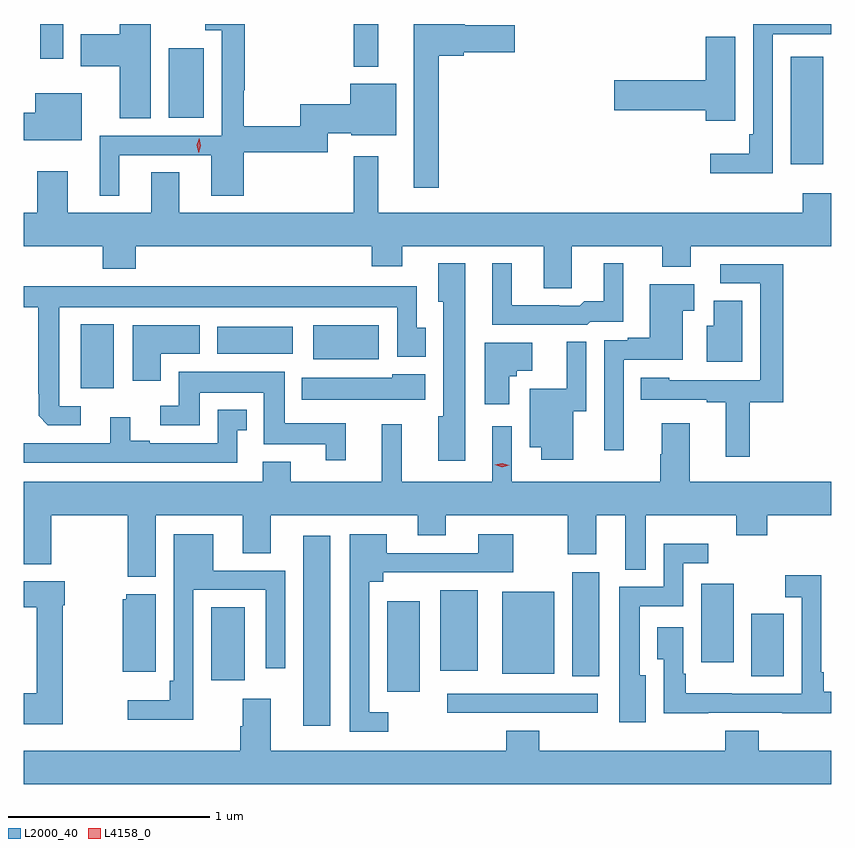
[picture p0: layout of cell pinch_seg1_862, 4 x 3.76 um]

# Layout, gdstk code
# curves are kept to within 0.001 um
import gdstk
lib = gdstk.Library(unit=1e-6, precision=1e-09)
def R(c, l, rs):  # rectangles x0, y0, x1, y1
    for r in rs: c.add(gdstk.rectangle(r[:2], r[2:], *l))
def P(c, l, *ps):  # polygons
    for p in ps: c.add(gdstk.Polygon(p, *l))
L2000_40 = (2000, 40)
L4158_0 = (4158, 0)

pinch_seg1_862 = lib.new_cell('pinch_seg1_862')
R(pinch_seg1_862, L2000_40, [(502.568,518.721,502.702,519.661), (503.283,518.784,504.028,518.88), (502.985,518.889,503.146,519.337), (502.112,518.946,502.279,519.308), (503.9,518.965,504.034,519.481), (504.788,518.965,504.949,519.276), (503.555,518.978,503.812,519.385), (503.246,518.993,503.434,519.391), (504.539,519.035,504.7,519.424), (501.467,520.392,501.631,520.708), (502.619,520.535,502.942,520.705), (502.142,520.562,502.516,520.696), (504.983,521.502,505.144,522.034), (501.902,521.732,502.075,522.076), (502.818,521.984,502.939,522.196), (501.265,522.024,501.381,522.196)])
P(pinch_seg1_862, L2000_40, [(501.658,521.547),(502.112,521.547),(502.112,521.346),(502.274,521.346),(502.274,521.562),(502.69,521.562),(502.69,521.656),(502.806,521.656),(502.806,521.645),(503.029,521.645),(503.029,521.899),(502.802,521.899),(502.802,521.798),(502.555,521.798),(502.555,521.69),(502.273,521.69),(502.273,521.867),(502.28,521.867),(502.28,522.196),(502.083,522.196),(502.083,522.165),(502.164,522.165),(502.164,521.643),(501.56,521.643),(501.56,521.346),(501.658,521.346)],
  [(503.239,522.038),(503.364,522.038),(503.364,522.056),(503.617,522.056),(503.617,522.19),(503.368,522.19),(503.368,522.196),(503.117,522.196),(503.117,521.385),(503.239,521.385)],
  [(504.894,522.144),(505.184,522.144),(505.184,522.196),(504.798,522.196),(504.798,521.65),(504.778,521.65),(504.778,521.554),(504.585,521.554),(504.585,521.456),(504.894,521.456)],
  [(501.814,522.196),(501.659,522.196),(501.659,522.145),(501.466,522.145),(501.466,521.987),(501.659,521.987),(501.659,521.728),(501.814,521.728)],
  [(504.709,522.132),(504.563,522.132),(504.563,521.918),(504.108,521.918),(504.108,521.77),(504.563,521.77),(504.563,521.718),(504.709,521.718)],
  [(501.472,521.854),(501.242,521.854),(501.242,521.756),(501.184,521.756),(501.184,521.621),(501.472,521.621)],
  [(502.939,521.542),(502.818,521.542),(502.818,521.26),(501.955,521.26),(501.955,521.462),(501.815,521.462),(501.815,521.26),(501.403,521.26),(501.403,521.467),(501.251,521.467),(501.251,521.26),(501.184,521.26),(501.184,521.096),(501.575,521.096),(501.575,520.985),(501.74,520.985),(501.74,521.096),(502.907,521.096),(502.907,520.997),(503.059,520.997),(503.059,521.096),(503.759,521.096),(503.759,520.888),(503.899,520.888),(503.899,521.096),(504.347,521.096),(504.347,520.994),(504.487,520.994),(504.487,521.096),(505.184,521.096),(505.184,521.359),(505.043,521.359),(505.043,521.26),(502.939,521.26)],
  [(503.991,520.722),(504.154,520.722),(504.154,521.011),(504.056,521.011),(504.056,520.823),(503.96,520.823),(503.937,520.8),(503.837,520.8),(503.837,520.803),(503.602,520.803),(503.602,521.011),(503.504,521.011),(503.504,520.707),(503.976,520.707)],
  [(503.371,521.011),(503.237,521.011),(503.237,520.821),(503.261,520.821),(503.261,520.254),(503.237,520.254),(503.237,520.032),(503.371,520.032)],
  [(504.779,520.323),(504.947,520.323),(504.947,521.007),(504.633,521.007),(504.633,520.911),(504.831,520.911),(504.831,520.431),(504.381,520.431),(504.381,520.444),(504.241,520.444),(504.241,520.335),(504.566,520.335),(504.566,520.323),(504.662,520.323),(504.662,520.053),(504.779,520.053)],
  [(504.156,520.533),(504.448,520.533),(504.448,520.777),(504.505,520.777),(504.505,520.906),(504.284,520.906),(504.284,520.642),(504.176,520.642),(504.176,520.629),(504.06,520.629),(504.06,520.086),(504.156,520.086)],
  [(501.466,520.302),(501.361,520.302),(501.361,520.793),(503.034,520.793),(503.034,520.548),(503.176,520.548),(503.176,520.692),(503.131,520.692),(503.131,520.897),(501.184,520.897),(501.184,520.793),(501.257,520.793),(501.258,520.255),(501.304,520.209),(501.466,520.209)],
  [(504.742,520.826),(504.602,520.826),(504.602,520.702),(504.566,520.702),(504.566,520.523),(504.742,520.523)],
  [(501.862,520.562),(502.057,520.562),(502.057,520.705),(501.725,520.705),(501.725,520.428),(501.862,520.428)],
  [(503.905,520.277),(503.97,520.277),(503.97,520.622),(503.873,520.622),(503.873,520.39),(503.69,520.39),(503.69,520.1),(503.747,520.1),(503.747,520.038),(503.905,520.038)],
  [(503.59,520.451),(503.625,520.451),(503.625,520.478),(503.704,520.478),(503.704,520.618),(503.468,520.618),(503.468,520.314),(503.59,520.314)],
  [(502.778,520.219),(502.477,520.219),(502.477,520.474),(501.953,520.474),(501.953,520.305),(501.861,520.305),(501.861,520.209),(502.057,520.209),(502.057,520.37),(502.373,520.37),(502.373,520.115),(502.679,520.115),(502.679,520.035),(502.778,520.035)],
  [(503.173,520.462),(503.01,520.462),(503.01,520.444),(502.562,520.444),(502.562,520.334),(503.173,520.334)],
  [(502.242,520.185),(502.288,520.185),(502.288,520.285),(502.146,520.285),(502.146,520.119),(501.808,520.119),(501.808,520.132),(501.712,520.132),(501.712,520.249),(501.614,520.249),(501.614,520.119),(501.184,520.119),(501.184,520.023),(502.242,520.023)],
  [(504.712,519.665),(504.867,519.665),(504.867,519.764),(505.184,519.764),(505.184,519.928),(504.484,519.928),(504.484,520.219),(504.344,520.219),(504.344,520.065),(504.337,520.065),(504.337,519.928),(503.602,519.928),(503.602,520.204),(503.504,520.204),(503.504,519.928),(503.057,519.928),(503.057,520.213),(502.958,520.213),(502.958,519.928),(502.507,519.928),(502.507,520.027),(502.367,520.027),(502.367,519.928),(501.184,519.928),(501.184,519.521),(501.321,519.521),(501.321,519.764),(501.7,519.764),(501.7,519.458),(501.838,519.458),(501.838,519.764),(502.268,519.764),(502.268,519.574),(502.408,519.574),(502.408,519.764),(503.135,519.764),(503.135,519.665),(503.275,519.665),(503.275,519.764),(503.879,519.764),(503.879,519.57),(504.019,519.57),(504.019,519.764),(504.164,519.764),(504.164,519.493),(504.265,519.493),(504.265,519.764),(504.712,519.764)],
  [(502.023,519.393),(502.383,519.393),(502.383,519.006),(502.479,519.006),(502.479,519.489),(502.123,519.489),(502.123,519.67),(501.927,519.67),(501.927,518.944),(501.907,518.944),(501.907,518.848),(501.699,518.848),(501.699,518.75),(502.023,518.75)],
  [(502.99,518.787),(502.896,518.787),(502.896,519.434),(502.966,519.434),(502.966,519.48),(503.608,519.48),(503.608,519.67),(503.435,519.67),(503.435,519.576),(502.981,519.576),(502.981,519.67),(502.8,519.67),(502.8,518.691),(502.99,518.691)],
  [(504.265,518.971),(504.235,518.971),(504.235,519.312),(504.45,519.312),(504.45,519.525),(504.574,519.525),(504.574,519.622),(504.354,519.622),(504.354,519.408),(504.134,519.408),(504.134,518.739),(504.265,518.739)],
  [(504.575,518.784),(504.941,518.784),(504.941,518.783),(505.184,518.783),(505.184,518.89),(505.147,518.89),(505.147,518.986),(505.134,518.986),(505.134,519.466),(504.957,519.466),(504.957,519.357),(505.038,519.357),(505.038,518.88),(504.692,518.88),(504.692,518.881),(504.463,518.881),(504.463,518.977),(504.45,518.977),(504.45,519.208),(504.323,519.208),(504.323,519.049),(504.354,519.049),(504.354,518.783),(504.575,518.783)],
  [(501.378,519.318),(501.388,519.318),(501.388,519.436),(501.184,519.436),(501.184,519.308),(501.248,519.308),(501.248,518.881),(501.184,518.881),(501.184,518.729),(501.378,518.729)],
  [(501.838,519.373),(501.693,519.373),(501.693,519.348),(501.674,519.348),(501.674,518.987),(501.838,518.987)],
  [(505.184,518.596),(504.824,518.596),(504.824,518.695),(504.659,518.695),(504.659,518.596),(503.738,518.596),(503.738,518.695),(503.573,518.695),(503.573,518.596),(502.408,518.596),(502.408,518.854),(502.268,518.854),(502.268,518.717),(502.256,518.717),(502.256,518.596),(501.184,518.596),(501.184,518.432),(505.184,518.432)])
P(pinch_seg1_862, L4158_0, [(502.05,521.559),(502.05,521.559),(502.041,521.595),(502.053,521.631),(502.053,521.631),(502.053,521.631),(502.061,521.594),(502.05,521.559)],
  [(503.553,520.001),(503.518,520.012),(503.517,520.013),(503.518,520.013),(503.554,520.021),(503.589,520.01),(503.589,520.01),(503.589,520.01)])

lib.write_gds('pinch_seg1_862.gds')
